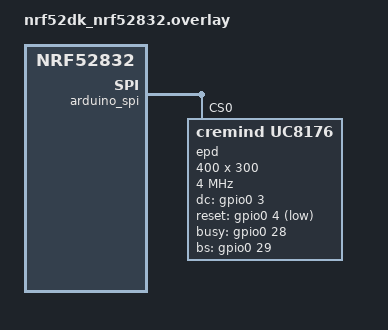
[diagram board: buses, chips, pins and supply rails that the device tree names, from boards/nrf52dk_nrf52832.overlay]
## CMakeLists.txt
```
# Cremind Tag firmware (docs/tag-firmware.md). Built by tools/build.py with
# -DZEPHYR_EXTRA_MODULES=<repository>, which provides boards/, dts/ and lib/.
cmake_minimum_required(VERSION 3.20.0)
find_package(Zephyr REQUIRED HINTS $ENV{ZEPHYR_BASE})
project(cremind_tag)

target_sources(app PRIVATE
  src/main.c
  src/tag_core.c
  src/gatt.c
  src/adv.c
  src/store_nvs.c
  src/enroll_uicr.c
  src/battery.c)

# One panel driver per image: the controller of the chosen cremind,panel node.
if(CONFIG_DT_HAS_CREMIND_SSD1619_ENABLED)
  target_sources(app PRIVATE src/panel_ssd1619.c)
else()
  target_sources(app PRIVATE src/panel_uc8176.c)
endif()

# Link-time optimisation (prj.conf CONFIG_LTO) for everything except:
# - the Zephyr Link Layer: the timing-critical controller is compiled exactly
#   as upstream builds it, and tools/verify_stack.py keeps finding its symbols;
# - ctag_session: LTO would inline the transcript (a 232-byte PSA hash
#   operation) and the HKDF chain into one frame of the handshake handler;
#   kept apart, the frames are those measured in docs/firmware-libs.md and
#   the system work queue budget holds (docs/tag-firmware.md "Stack budget").
if(CONFIG_LTO)
  foreach(lib subsys__bluetooth__controller subsys__bluetooth__controller__ll_sw__nordic
              ctag_session)
    if(TARGET ${lib})
      set_property(TARGET ${lib} PROPERTY LTO 0)
    endif()
  endforeach()
endif()
```

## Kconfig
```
# Cremind Tag application options (docs/tag-firmware.md).

config APP_LOW_BATTERY_MV
	int "Low-battery threshold (mV) for the advertising and CHALLENGE flags"
	default 2400

config APP_BATTERY_NRF51_DIRECT
	bool "Measure VDD on nRF51 with the ADC registers"
	depends on SOC_SERIES_NRF51
	default y
	help
	  Zephyr's nRF51 ADC driver cannot select the 1/3 supply input, so VDD
	  is sampled directly (10 bit, 1.2 V band gap). The ADC devicetree node
	  must stay disabled. Off: battery_mv is reported as 0 (unknown).

config APP_TIGHT_CTLR_STACKS
	bool "Shrink the hidden Zephyr controller RX thread stacks"
	default y if SOC_SERIES_NRF51
	help
	  docs/firmware-notes.md section 12 ("tight"): 640 B controller RX and
	  384 B priority RX stacks, so that 16 KiB parts keep 2 KiB free. Needs
	  on-target stack measurement (CONFIG_THREAD_ANALYZER) during
	  qualification.

# Hidden controller symbols cannot be set from a .conf file; the earliest
# default wins, so these must come before Kconfig.zephyr.
config BT_CTLR_RX_STACK_SIZE
	int
	default 640 if APP_TIGHT_CTLR_STACKS

config BT_CTLR_RX_PRIO_STACK_SIZE
	int
	default 384 if APP_TIGHT_CTLR_STACKS

source "Kconfig.zephyr"
```

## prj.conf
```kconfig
# Cremind Tag firmware, every tag target (docs/tag-firmware.md).
# Per-SoC stack sizes: socs/<soc>.conf. Fragment provenance:
# docs/firmware-notes.md section 12 (base, "min", "crypto-lean").

# ---- Bluetooth: legacy connectable peripheral, one link, ATT MTU 23 ----
CONFIG_BT=y
CONFIG_BT_PERIPHERAL=y
CONFIG_BT_DEVICE_NAME="CTag"
CONFIG_BT_MAX_CONN=1
CONFIG_BT_EXT_ADV=n
CONFIG_BT_L2CAP_TX_MTU=23
# Link security is the application's (docs/security.md): no SMP, no pairing.
CONFIG_BT_SMP=n
# Controller crypto stays on: =n selects host crypto -> PSA + heap
# (firmware-notes correction 8).
CONFIG_BT_CTLR_CRYPTO=y
# Host RX in the system work queue on every tag SoC: the GATT callbacks, the
# core, the panel poll and the crypto share one cooperative context (no
# locking) and no BT RX thread stack is allocated.
CONFIG_BT_RECV_WORKQ_SYS=y

# ---- Cremind Tag libraries (docs/firmware-libs.md) ----
CONFIG_CTAG_FRAG=y
CONFIG_CTAG_SESSION=y
CONFIG_CTAG_TXN=y
CONFIG_CTAG_ENROLL=y

# ---- crypto-lean: PSA with HMAC-built HKDF, CCM-8, SHA-256; nonces from
# sys_csrand_get(); all crypto in one thread; one volatile key at a time ----
CONFIG_PSA_CRYPTO=y
CONFIG_PSA_WANT_ALG_HMAC=y
CONFIG_PSA_WANT_ALG_SHA_256=y
CONFIG_PSA_WANT_ALG_CCM=y
CONFIG_PSA_WANT_KEY_TYPE_AES=y
CONFIG_PSA_WANT_AES_KEY_SIZE_128=y
CONFIG_PSA_WANT_KEY_TYPE_HMAC=y
CONFIG_PSA_WANT_GENERATE_RANDOM=n
CONFIG_MBEDTLS_THREADING_C=n
CONFIG_MBEDTLS_PSA_KEY_SLOT_COUNT=1

# ---- peripherals ----
CONFIG_GPIO=y
CONFIG_SPI=y
CONFIG_FLASH=y
CONFIG_FLASH_MAP=y
CONFIG_FLASH_PAGE_LAYOUT=y
CONFIG_NVS=y

# ---- code size ----
CONFIG_LTO=y
CONFIG_ISR_TABLES_LOCAL_DECLARATION=y

# ---- release build: no logging, no console ----
CONFIG_LOG=n
CONFIG_PRINTK=n
CONFIG_CONSOLE=n
CONFIG_UART_CONSOLE=n
CONFIG_SERIAL=n
CONFIG_BOOT_BANNER=n
CONFIG_NCS_BOOT_BANNER=n

# ---- "min": kernel ----
CONFIG_MAIN_STACK_SIZE=512
CONFIG_ISR_STACK_SIZE=1024
CONFIG_IDLE_STACK_SIZE=128
CONFIG_HW_STACK_PROTECTION=n
CONFIG_TIMESLICING=n
CONFIG_ASSERT=n
CONFIG_BT_ASSERT=n
CONFIG_HEAP_MEM_POOL_SIZE=0
CONFIG_CBPRINTF_NANO=y
CONFIG_NUM_PREEMPT_PRIORITIES=8

# ---- "min": host ----
CONFIG_BT_TX_PROCESSOR_THREAD=n
CONFIG_BT_BUF_EVT_RX_COUNT=4
CONFIG_BT_BUF_EVT_DISCARDABLE_COUNT=1
CONFIG_BT_BUF_ACL_TX_COUNT=2
CONFIG_BT_BUF_ACL_RX_COUNT_EXTRA=1
CONFIG_BT_L2CAP_TX_BUF_COUNT=2
CONFIG_BT_ATT_TX_COUNT=2
CONFIG_BT_GATT_SERVICE_CHANGED=n
CONFIG_BT_GATT_READ_MULTIPLE=n
CONFIG_BT_GATT_READ_MULT_VAR_LEN=n
CONFIG_BT_PHY_UPDATE=n
CONFIG_BT_DATA_LEN_UPDATE=n
CONFIG_BT_HCI_VS=n
CONFIG_BT_DEVICE_NAME_DYNAMIC=n
CONFIG_BT_GAP_AUTO_UPDATE_CONN_PARAMS=n

# ---- "min": controller ----
CONFIG_BT_CTLR_ADVANCED_FEATURES=y
CONFIG_BT_CTLR_LE_ENC=n
CONFIG_BT_CTLR_CONN_PARAM_REQ=n
CONFIG_BT_CTLR_EXT_REJ_IND=n
CONFIG_BT_CTLR_PER_INIT_FEAT_XCHG=n
CONFIG_BT_CTLR_MIN_USED_CHAN=n
CONFIG_BT_CTLR_CHAN_SEL_2=n
CONFIG_BT_CTLR_PRIVACY=n
CONFIG_BT_CTLR_FILTER_ACCEPT_LIST=n
CONFIG_BT_CTLR_DTM_HCI=n
CONFIG_BT_CTLR_ASSERT_OVERHEAD_START=n
```

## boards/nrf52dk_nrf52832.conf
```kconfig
# Link into the code partition so the image can never grow into NVS.
CONFIG_USE_DT_CODE_PARTITION=y
```

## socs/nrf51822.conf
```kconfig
# nRF51822 / nRF51802 (Laowu BW, BWR): 16 KiB SRAM.
# "tight" (docs/firmware-notes.md 12): APP_TIGHT_CTLR_STACKS defaults to y on
# nRF51 (app Kconfig), plus one HCI event buffer less.
CONFIG_BT_BUF_EVT_RX_COUNT=3
# The system work queue carries host RX/TX, the crypto and the panel driver.
CONFIG_SYSTEM_WORKQUEUE_STACK_SIZE=1280
```

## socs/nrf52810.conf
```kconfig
# nRF52 tag SoC. The system work queue carries host RX/TX (BT_RECV_WORKQ_SYS),
# the crypto and the panel driver.
CONFIG_SYSTEM_WORKQUEUE_STACK_SIZE=1536
# VDD through the SAADC (battery.c).
CONFIG_ADC=y
```

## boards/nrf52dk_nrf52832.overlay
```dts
/*
 * Development tag on the nRF52 DK (protocol board id NRF52DK_TAG = 20).
 *
 * The UC8176 node documents where to wire a 4.2-inch 400x300 UC8176 module
 * (e.g. a black/white 4.2" e-paper breakout) to the Arduino header:
 *   SCK D13 = P0.25, MOSI D11 = P0.23, CS D10 = P0.22 (arduino_spi = spi2),
 *   DC A0 = P0.03, RST A1 = P0.04, BUSY A2 = P0.28, BS A3 = P0.29 (tie low).
 * panel-id 0 (NONE) matches the companion's default enrollment of this
 * board: a virtual panel that accepts frames, verifies their digest and
 * "refreshes" after 300 ms without touching any pin. With a module wired,
 * set panel-id = <1> (UC8176_420_BW) and enroll the tag with `--panel bw`.
 */

/ {
	chosen {
		zephyr,code-partition = &code_partition;
		cremind,tag-board = &tag_board;
		cremind,panel = &epd;
	};

	tag_board: tag-board {
		compatible = "cremind,tag-board";
		board-id = <20>;
		/* Buttons exist, but System OFF wake is not verified for this app. */
	};
};

&arduino_spi {
	epd: epd@0 {
		compatible = "cremind,uc8176";
		reg = <0>;
		spi-max-frequency = <DT_FREQ_M(4)>;
		dc-gpios = <&gpio0 3 GPIO_ACTIVE_HIGH>;
		reset-gpios = <&gpio0 4 GPIO_ACTIVE_LOW>;
		busy-gpios = <&gpio0 28 GPIO_ACTIVE_HIGH>;
		bs-gpios = <&gpio0 29 GPIO_ACTIVE_HIGH>;
		width = <400>;
		height = <300>;
		planes = <1>;
		plane-flags = <0x01>;
		refresh-timeout-ms = <10000>;
		panel-id = <0>;	/* NONE (virtual); 1 = UC8176_420_BW once wired */
	};
};

/* No MCUboot on the tag: code at 0, NVS in the DK's storage partition. */
/delete-node/ &boot_partition;
/delete-node/ &slot0_partition;
/delete-node/ &slot1_partition;

&flash0 {
	partitions {
		code_partition: partition@0 {
			compatible = "zephyr,mapped-partition";
			label = "code";
			reg = <0x00000000 0x0007a000>;
		};
	};
};
```

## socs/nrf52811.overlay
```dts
/* SAADC for the VDD measurement (battery.c; internal input, no pin). */
&adc {
	status = "okay";
};
```

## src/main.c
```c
/*
 * Cremind Tag firmware (docs/tag-firmware.md).
 *
 * main() only checks the enrollment blob and starts Bluetooth asynchronously;
 * everything else runs on the system work queue: bt_ready() (crypto, NVS,
 * panel, core, advertising), the GATT callbacks (BT_RECV_WORKQ_SYS), the core
 * work item, the session timeout and the panel's BUSY poll. A single
 * cooperative context means the core needs no locking and main's stack stays
 * small.
 */
#include <zephyr/bluetooth/bluetooth.h>
#include <zephyr/drivers/gpio.h>
#include <zephyr/kernel.h>
#include <zephyr/logging/log.h>
#include <zephyr/sys/poweroff.h>

#include <ctag/ctag_crypto.h>
#include <ctag/ctag_enroll.h>

#include "app.h"
#include "panel.h"

LOG_MODULE_REGISTER(tag, LOG_LEVEL_INF);

struct tag_core app_core;

static struct tag_core_cfg cfg;

static void core_fn(struct k_work *work);
static K_WORK_DELAYABLE_DEFINE(core_work, core_fn);

#define LINGER_MS 2000 /* ERROR / last RESULT in flight before a forced disconnect */

/*
 * The one work item of the core: the panel's BUSY poll (while a refresh
 * runs), record processing, then the GATT transmit pump. Kicked by writes,
 * ATT completions and the panel; re-armed by -ENOMEM and the BUSY poll.
 */
static void core_fn(struct k_work *work)
{
	(void)work;
	panel_poll();
	tag_core_poll(&app_core);
	gatt_pump();
	if (tag_core_closing(&app_core)) {
		/* Bound the wait for the last indication's confirmation. */
		adv_touch(LINGER_MS);
	}
}

void app_kick(void)
{
	k_work_reschedule(&core_work, K_NO_WAIT);
}

void app_kick_after(uint32_t ms)
{
	/* Keeps an earlier deadline: never postpones pending work. */
	k_work_schedule(&core_work, K_MSEC(ms));
}

void app_kick_later(void)
{
	app_kick_after(10);
}

void app_touch(void)
{
	adv_touch(CTAG_TAG_SESSION_TIMEOUT_MS);
}

void app_session_timer(void)
{
	if (tag_core_refreshing(&app_core)) {
		app_touch(); /* the tag stays connected through the refresh */
		return;
	}
	if (tag_core_closing(&app_core)) {
		gatt_disconnect();
		return;
	}
	tag_core_timeout(&app_core);
	app_kick();
}

void app_link_up(void)
{
	adv_link_up(); /* also arms the session timeout */
	tag_core_link_up(&app_core);
}

void app_link_down(void)
{
	tag_core_link_down(&app_core);
#if TAG_SLEEP_OK
	if (app_core.sleep) {
		static const struct gpio_dt_spec wake = GPIO_DT_SPEC_GET(TAG_BOARD_NODE, wake_gpios);

		/* CMD{SLEEP}: System OFF until the verified wake input fires. */
		(void)gpio_pin_configure_dt(&wake, GPIO_INPUT);
		(void)gpio_pin_interrupt_configure_dt(&wake, GPIO_INT_LEVEL_ACTIVE);
		sys_poweroff();
	}
#endif
	adv_link_down();
}

void app_refresh_done(uint8_t status)
{
	tag_core_refresh_done(&app_core, status);
	if (gatt_connected()) {
		app_touch();
	}
	app_kick();
}

/* ---- platform hooks of the core ---- */

uint32_t tag_hal_uptime_ms(void)
{
	return k_uptime_get_32();
}

int tag_hal_random(uint8_t *buf, size_t len)
{
	return ctag_crypto_random(buf, len);
}

/* ---- boot ---- */

static void wipe(void *p, size_t len)
{
	volatile uint8_t *v = p;

	while (len-- > 0u) {
		*v++ = 0u;
	}
}

static void bt_ready(int err)
{
	if (err != 0 || ctag_crypto_init() != 0) {
		LOG_ERR("bt %d or crypto init failed: not advertising", err);
		return; /* no radio or no crypto: never advertise */
	}
	(void)store_init(); /* on failure every save reports STORAGE_ERROR */
	(void)battery_init();
	if (panel_init(TAG_PANEL_ID) == 0) {
		cfg.flags |= TAG_CFG_PANEL_OK;
	}
	if (TAG_SLEEP_OK) {
		cfg.flags |= TAG_CFG_SLEEP_OK;
	}
	tag_core_init(&app_core, &cfg);
	LOG_INF("tag %08x board %u panel %u (usable %u) epoch %u rec %u", cfg.tag_id, TAG_BOARD_ID,
		TAG_PANEL_ID, cfg.flags & TAG_CFG_PANEL_OK, app_core.stored_epoch,
		app_core.rec_state);
	adv_start();
}

#if DT_NODE_EXISTS(DT_ALIAS(led0))
static void security_config_blink(void)
{
	static const struct gpio_dt_spec led = GPIO_DT_SPEC_GET(DT_ALIAS(led0), gpios);

	if (!gpio_is_ready_dt(&led) || gpio_pin_configure_dt(&led, GPIO_OUTPUT_INACTIVE) != 0) {
		return;
	}
	/* Ten slow blinks, then dark: the tag stays silent and never advertises. */
	for (int i = 0; i < 20; i++) {
		(void)gpio_pin_toggle_dt(&led);
		k_msleep(250);
	}
	(void)gpio_pin_set_dt(&led, 0);
}
#else
static void security_config_blink(void)
{
}
#endif

int main(void)
{
	struct ctag_enrollment e;
	int err = enroll_load(&e);

	cfg.tag_id = e.tag_id;
	wipe(&e, sizeof(e)); /* the secret stays in UICR only */
	/* 9: no valid enrollment (or one for another board/panel) -> SECURITY_CONFIG. */
	if (err != 0) {
		LOG_ERR("SECURITY_CONFIG: enrollment blob missing, corrupt or for another board");
		security_config_blink();
		return 0;
	}
	cfg.secret = enroll_secret();
	cfg.planes = TAG_PLANES;
	cfg.plane_flags = TAG_PLANE_FLAGS;
	cfg.plane_len = (uint16_t)(((TAG_WIDTH + 7) / 8) * TAG_HEIGHT);
	(void)bt_enable(bt_ready);
	return 0;
}
```

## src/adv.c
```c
/*
 * Wake cycle and advertising (docs/protocol.md 5.1): every
 * TAG_WAKE_PERIOD_MS +/- TAG_WAKE_JITTER_MS (uniform) the tag advertises
 * connectably for TAG_ADV_WINDOW_MS at TAG_ADV_INTERVAL_MS, legacy 1M from
 * its static random identity address, with Flags and the manufacturer data
 * below; no scan response. Between windows the system idles in System ON
 * (tickless kernel, RTC running). A window is skipped while a bridge is
 * connected or a refresh runs, and once after three consecutive handshake
 * AUTH failures (5.4 pacing). While connected, the same timer is the
 * session timeout (app_session_timer()).
 */
#include <zephyr/bluetooth/bluetooth.h>
#include <zephyr/kernel.h>
#include <zephyr/random/random.h>

#include <ctag/proto_ids.h>

#include "app.h"

#define ADV_INTERVAL BT_GAP_MS_TO_ADV_INTERVAL(CTAG_TAG_ADV_INTERVAL_MS)

/* company u16 | ver u8 | tag_id u32 | flags u8 | disp_rev u16 */
static uint8_t mfg[10] = {(uint8_t)CTAG_MESH_COMPANY_ID, (uint8_t)(CTAG_MESH_COMPANY_ID >> 8), 1};

static const struct bt_data ad[] = {
	BT_DATA_BYTES(BT_DATA_FLAGS, BT_LE_AD_GENERAL | BT_LE_AD_NO_BREDR),
	BT_DATA(BT_DATA_MANUFACTURER_DATA, mfg, sizeof(mfg)),
};

static bool advertising;
static uint32_t wake_at;

static void adv_fn(struct k_work *work);
static K_WORK_DELAYABLE_DEFINE(adv_work, adv_fn);

static void next_wake(void)
{
	int32_t jitter = (int32_t)(sys_rand32_get() % (2u * CTAG_TAG_WAKE_JITTER_MS + 1u)) -
			 CTAG_TAG_WAKE_JITTER_MS;
	int32_t delay = (int32_t)(wake_at + CTAG_TAG_WAKE_PERIOD_MS - k_uptime_get_32()) + jitter;

	k_work_reschedule(&adv_work, K_MSEC(delay > 0 ? delay : 0));
}

static void adv_fn(struct k_work *work)
{
	(void)work;
	if (gatt_connected()) {
		app_session_timer();
		return;
	}
	if (advertising) { /* end of the window */
		(void)bt_le_adv_stop();
		advertising = false;
		next_wake();
		return;
	}
	wake_at = k_uptime_get_32();
	if (!gatt_connected() && !tag_core_refreshing(&app_core) &&
	    !tag_core_take_skip(&app_core)) {
		mfg[7] = tag_core_adv_flags(&app_core, tag_hal_battery_mv());
		ctag_put_le16(&mfg[8], tag_core_disp_rev(&app_core));
		if (bt_le_adv_start(BT_LE_ADV_PARAM(BT_LE_ADV_OPT_CONN, ADV_INTERVAL, ADV_INTERVAL,
						    NULL),
				    ad, ARRAY_SIZE(ad), NULL, 0) == 0) {
			advertising = true;
			k_work_schedule(&adv_work, K_MSEC(CTAG_TAG_ADV_WINDOW_MS));
			return;
		}
	}
	next_wake();
}

void adv_start(void)
{
	ctag_put_le32(&mfg[3], app_core.cfg.tag_id);
	k_work_schedule(&adv_work, K_NO_WAIT); /* first window right after boot */
}

void adv_link_up(void)
{
	/* A connectable legacy advertiser stops when the connection is made. */
	advertising = false;
	adv_touch(CTAG_TAG_SESSION_TIMEOUT_MS);
}

void adv_touch(uint32_t ms)
{
	k_work_reschedule(&adv_work, K_MSEC(ms));
}

void adv_link_down(void)
{
	next_wake();
}
```

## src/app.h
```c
/*
 * Glue between the Zephyr services (Bluetooth, NVS, UICR, ADC, panel) and the
 * protocol core. Everything below runs on the system work queue.
 */
#ifndef TAG_APP_H_
#define TAG_APP_H_

#include <stdbool.h>
#include <stdint.h>

#include <zephyr/devicetree.h>

#include <ctag/proto_msgs.h>

#include "tag_core.h"

#define TAG_BOARD_NODE DT_CHOSEN(cremind_tag_board)
#define TAG_PANEL_NODE DT_CHOSEN(cremind_panel)
#define TAG_BOARD_ID   DT_PROP(TAG_BOARD_NODE, board_id)
#define TAG_PANEL_ID   DT_PROP(TAG_PANEL_NODE, panel_id)
#define TAG_WIDTH      DT_PROP(TAG_PANEL_NODE, width)
#define TAG_HEIGHT     DT_PROP(TAG_PANEL_NODE, height)
#define TAG_PLANES     DT_PROP(TAG_PANEL_NODE, planes)
#define TAG_PLANE_FLAGS DT_PROP(TAG_PANEL_NODE, plane_flags)
/* CMD{SLEEP} (System OFF) only with a physically verified wake input. */
#define TAG_SLEEP_OK   (DT_PROP(TAG_BOARD_NODE, wake_verified) && \
			DT_NODE_HAS_PROP(TAG_BOARD_NODE, wake_gpios))

extern struct tag_core app_core;

/* main.c: run the panel poll, tag_core_poll() and the GATT transmit pump
 * (now, after ms, or after a short retry delay). */
void app_kick(void);
void app_kick_after(uint32_t ms);
void app_kick_later(void);
/* main.c: progress on the link; restarts the session timeout. */
void app_touch(void);
/* main.c: the link timer expired while connected (session timeout/linger). */
void app_session_timer(void);
/* main.c: link events from gatt.c. */
void app_link_up(void);
void app_link_down(void);
/* main.c: the panel's refresh finished (panel driver work item). */
void app_refresh_done(uint8_t status);

/* gatt.c */
void gatt_pump(void);
void gatt_disconnect(void);
bool gatt_connected(void);

/* adv.c: one timer for the wake cycle (not connected) and the session
 * timeout (connected); they are never needed at the same time. */
void adv_start(void);
void adv_link_up(void);
void adv_link_down(void);
void adv_touch(uint32_t ms);

/* store_nvs.c */
int store_init(void);

/* enroll_uicr.c: the verified blob (secret wiped by the caller). */
int enroll_load(struct ctag_enrollment *e);
const uint8_t *enroll_secret(void);

/* battery.c */
int battery_init(void);

#endif /* TAG_APP_H_ */
```

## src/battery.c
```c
/*
 * VDD for CHALLENGE.battery_mv, RESULT.battery_mv and the low-battery flag
 * (0 = unknown, never reported as low).
 *
 * nRF52: the Zephyr ADC API on the SAADC's internal VDD input (gain 1/6,
 * 0.6 V reference: 3.6 V full scale, 12 bit).
 * nRF51: Zephyr's nRF51 ADC driver cannot select the supply input (it maps
 * input_positive to an analog pin, 8 bit only), so VDD is read with the ADC
 * registers directly (INPSEL = 1/3 supply, REFSEL = 1.2 V band gap, 10 bit)
 * when CONFIG_APP_BATTERY_NRF51_DIRECT is set; the ADC devicetree node stays
 * disabled so no driver owns the peripheral.
 */
#include <errno.h>

#include <zephyr/devicetree.h>
#include <zephyr/kernel.h>

#include "app.h"

#if defined(CONFIG_APP_BATTERY_NRF51_DIRECT)

#include <soc.h>

BUILD_ASSERT(!DT_NODE_HAS_STATUS_OKAY(DT_NODELABEL(adc)), "a driver owns the nRF51 ADC");

int battery_init(void)
{
	return 0;
}

uint16_t tag_hal_battery_mv(void)
{
	uint32_t raw = 0;

	NRF_ADC->CONFIG = (ADC_CONFIG_RES_10bit << ADC_CONFIG_RES_Pos) |
			  (ADC_CONFIG_INPSEL_SupplyOneThirdPrescaling << ADC_CONFIG_INPSEL_Pos) |
			  (ADC_CONFIG_REFSEL_VBG << ADC_CONFIG_REFSEL_Pos);
	NRF_ADC->ENABLE = ADC_ENABLE_ENABLE_Enabled;
	NRF_ADC->EVENTS_END = 0;
	NRF_ADC->TASKS_START = 1;
	/* 10-bit conversion: 68 us; bounded in case the peripheral misbehaves. */
	for (int i = 0; i < 200 && NRF_ADC->EVENTS_END == 0; i++) {
		k_busy_wait(1);
	}
	if (NRF_ADC->EVENTS_END != 0) {
		raw = NRF_ADC->RESULT;
	}
	NRF_ADC->EVENTS_END = 0;
	NRF_ADC->ENABLE = ADC_ENABLE_ENABLE_Disabled;
	return (uint16_t)(raw * 3600u / 1023u);
}

#elif defined(CONFIG_ADC) && DT_NODE_HAS_STATUS_OKAY(DT_NODELABEL(adc))

#include <zephyr/drivers/adc.h>
#include <zephyr/dt-bindings/adc/nrf-saadc.h>

static const struct device *const adc = DEVICE_DT_GET(DT_NODELABEL(adc));
static bool ready;

int battery_init(void)
{
	static const struct adc_channel_cfg ch = {
		.gain = ADC_GAIN_1_6,
		.reference = ADC_REF_INTERNAL,
		.acquisition_time = ADC_ACQ_TIME(ADC_ACQ_TIME_MICROSECONDS, 10),
		.channel_id = 0,
		.input_positive = NRF_SAADC_VDD,
	};

	ready = device_is_ready(adc) && adc_channel_setup(adc, &ch) == 0;
	return ready ? 0 : -ENODEV;
}

uint16_t tag_hal_battery_mv(void)
{
	int16_t raw = 0;
	const struct adc_sequence seq = {
		.channels = BIT(0),
		.buffer = &raw,
		.buffer_size = sizeof(raw),
		.resolution = 12,
	};

	if (!ready || adc_read(adc, &seq) != 0 || raw < 0) {
		return 0;
	}
	return (uint16_t)((uint32_t)raw * 3600u / 4096u);
}

#else

int battery_init(void)
{
	return -ENOTSUP;
}

uint16_t tag_hal_battery_mv(void)
{
	return 0; /* not measured on this build (docs/tag-firmware.md) */
}

#endif
```

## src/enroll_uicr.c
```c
/*
 * Enrollment blob (docs/protocol.md 9) in UICR.CUSTOMER[0..11] at 0x10001080
 * on nRF51 and nRF52 alike. The secret is never copied out of UICR: the
 * session code reads it in place (enroll_secret()).
 */
#include <errno.h>
#include <stddef.h>

#include <soc.h>

#include <ctag/ctag_enroll.h>

#include "app.h"

#define UICR_BLOB ((const uint8_t *)&NRF_UICR->CUSTOMER[0])
#define SECRET_OFFSET 12u /* magic, version, board, panel, flags, tag_id */

BUILD_ASSERT(offsetof(NRF_UICR_Type, CUSTOMER) == 0x080, "UICR.CUSTOMER at 0x10001080");

int enroll_load(struct ctag_enrollment *e)
{
	if (ctag_enroll_parse(UICR_BLOB, CTAG_ENROLLMENT_LEN, e) != CTAG_STATUS_OK) {
		return -EINVAL;
	}
	/* The blob and this firmware must describe the same board and panel. */
	return e->board == TAG_BOARD_ID && e->panel == TAG_PANEL_ID ? 0 : -EINVAL;
}

const uint8_t *enroll_secret(void)
{
	return UICR_BLOB + SECRET_OFFSET;
}
```

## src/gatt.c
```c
/*
 * Tag GATT service (protocol/spec.yaml gatt, docs/protocol.md 5): CAPS read,
 * CTRL write + indicate, DATA write without response, STATUS notify. Writes
 * go to the core's reassembler; outgoing fragments are pumped from the
 * core's queue: CTRL one indication at a time (the next after the
 * confirmation), STATUS as far as the ATT buffers allow (-ENOMEM retries after
 * a completion callback or a short delay). The queue is drained in order, so
 * AUTH_OK is confirmed before the first CREDIT goes out.
 */
#include <errno.h>

#include <zephyr/bluetooth/bluetooth.h>
#include <zephyr/bluetooth/conn.h>
#include <zephyr/bluetooth/gatt.h>
#include <zephyr/bluetooth/uuid.h>
#include <zephyr/kernel.h>

#include <app_version.h>
#include <ctag/proto_ids.h>

#include "app.h"

static const struct bt_uuid_128 svc_uuid = BT_UUID_INIT_128(CTAG_GATT_SERVICE_UUID_VAL);
static const struct bt_uuid_128 caps_uuid = BT_UUID_INIT_128(CTAG_GATT_CHR_CAPS_UUID_VAL);
static const struct bt_uuid_128 ctrl_uuid = BT_UUID_INIT_128(CTAG_GATT_CHR_CTRL_UUID_VAL);
static const struct bt_uuid_128 data_uuid = BT_UUID_INIT_128(CTAG_GATT_CHR_DATA_UUID_VAL);
static const struct bt_uuid_128 status_uuid = BT_UUID_INIT_128(CTAG_GATT_CHR_STATUS_UUID_VAL);

static struct bt_conn *cur;
static struct bt_gatt_indicate_params ind;
static uint8_t frag[CTAG_ATT_VALUE_MAX];
static uint8_t frag_len;
static uint8_t frag_chr;
static bool ind_busy;

/* The CAPS value: served on the characteristic and bound into the handshake
 * transcript by the core (docs/protocol.md 5.4), so both use these bytes. */
void tag_hal_caps(uint8_t out[CTAG_TAG_CAPS_LEN])
{
	const struct ctag_tag_caps caps = {
		.proto = CTAG_PROTO_VERSION,
		.tag_id = app_core.cfg.tag_id,
		.board = TAG_BOARD_ID,
		.panel = TAG_PANEL_ID,
		.width = TAG_WIDTH,
		.height = TAG_HEIGHT,
		.planes = TAG_PLANES,
		.plane_flags = TAG_PLANE_FLAGS,
		.fw_major = APP_VERSION_MAJOR,
		.fw_minor = APP_VERSION_MINOR,
		.fw_patch = APP_PATCHLEVEL,
		.max_record = CTAG_TAG_RECORD_PAYLOAD_MAX,
		.credits = TAG_CREDITS,
	};

	(void)ctag_tag_caps_pack(&caps, out, CTAG_TAG_CAPS_LEN);
}

static ssize_t read_caps(struct bt_conn *conn, const struct bt_gatt_attr *attr, void *buf,
			 uint16_t len, uint16_t offset)
{
	uint8_t value[CTAG_TAG_CAPS_LEN];

	tag_hal_caps(value);
	return bt_gatt_attr_read(conn, attr, buf, len, offset, value, sizeof(value));
}

/* CTRL and DATA: user_data carries the enum tag_chr. */
static ssize_t write_value(struct bt_conn *conn, const struct bt_gatt_attr *attr, const void *buf,
			   uint16_t len, uint16_t offset, uint8_t flags)
{
	(void)flags;
	if (conn != cur) {
		return BT_GATT_ERR(BT_ATT_ERR_UNLIKELY);
	}
	if (offset != 0u) {
		return BT_GATT_ERR(BT_ATT_ERR_INVALID_OFFSET);
	}
	if (!tag_core_closing(&app_core)) {
		app_touch();
	}
	if (tag_core_rx(&app_core, (uint8_t)(uintptr_t)attr->user_data, buf, len)) {
		app_kick();
	}
	return len;
}

BT_GATT_SERVICE_DEFINE(tag_svc,
	BT_GATT_PRIMARY_SERVICE(&svc_uuid),
	BT_GATT_CHARACTERISTIC(&caps_uuid.uuid, BT_GATT_CHRC_READ, BT_GATT_PERM_READ,
			       read_caps, NULL, NULL),
	BT_GATT_CHARACTERISTIC(&ctrl_uuid.uuid, BT_GATT_CHRC_WRITE | BT_GATT_CHRC_INDICATE,
			       BT_GATT_PERM_WRITE, NULL, write_value, (void *)TAG_CHR_CTRL),
	BT_GATT_CCC(NULL, BT_GATT_PERM_READ | BT_GATT_PERM_WRITE),
	BT_GATT_CHARACTERISTIC(&data_uuid.uuid, BT_GATT_CHRC_WRITE_WITHOUT_RESP,
			       BT_GATT_PERM_WRITE, NULL, write_value, (void *)TAG_CHR_DATA),
	BT_GATT_CHARACTERISTIC(&status_uuid.uuid, BT_GATT_CHRC_NOTIFY, BT_GATT_PERM_NONE,
			       NULL, NULL, NULL),
	BT_GATT_CCC(NULL, BT_GATT_PERM_READ | BT_GATT_PERM_WRITE),
);

/* Value attributes: [4] CTRL, [9] STATUS. */
#define CTRL_ATTR   (&tag_svc.attrs[4])
#define STATUS_ATTR (&tag_svc.attrs[9])

static void indicated(struct bt_conn *conn, struct bt_gatt_indicate_params *params, uint8_t err)
{
	(void)conn;
	(void)params;
	(void)err;
	ind_busy = false;
	app_kick();
}

static void notified(struct bt_conn *conn, void *user_data)
{
	(void)conn;
	(void)user_data;
	app_kick();
}

/* Out of line: its notify parameters never sit under the core's frames. */
__attribute__((noinline)) void gatt_pump(void)
{
	int err;
	int n;

	if (cur == NULL) {
		return;
	}
	while (!ind_busy) {
		if (frag_len == 0u) {
			n = tag_core_tx_next(&app_core, &frag_chr, frag);
			if (n <= 0) {
				break;
			}
			frag_len = (uint8_t)n;
		}
		if (frag_chr == TAG_CHR_CTRL) {
			ind.attr = CTRL_ATTR;
			ind.func = indicated;
			ind.destroy = NULL;
			ind.data = frag;
			ind.len = frag_len;
			err = bt_gatt_indicate(cur, &ind); /* copies the value */
			ind_busy = err == 0;
		} else {
			struct bt_gatt_notify_params np = {
				.attr = STATUS_ATTR,
				.data = frag,
				.len = frag_len,
				.func = notified,
			};

			err = bt_gatt_notify_cb(cur, &np);
		}
		if (err == -ENOMEM) {
			app_kick_later(); /* no ATT buffer free in the system work queue */
			return;
		}
		if (err != 0) {
			/* Not subscribed or link gone: the session cannot go on. */
			gatt_disconnect();
			return;
		}
		frag_len = 0u;
	}
	if (tag_core_closing(&app_core) && frag_len == 0u && !ind_busy &&
	    tag_core_tx_empty(&app_core)) {
		gatt_disconnect();
	}
}

void gatt_disconnect(void)
{
	if (cur != NULL) {
		(void)bt_conn_disconnect(cur, BT_HCI_ERR_REMOTE_USER_TERM_CONN);
	}
}

bool gatt_connected(void)
{
	return cur != NULL;
}

static void connected(struct bt_conn *conn, uint8_t err)
{
	if (err != 0u || cur != NULL) {
		return;
	}
	cur = bt_conn_ref(conn);
	frag_len = 0u;
	ind_busy = false;
	app_link_up();
}

static void disconnected(struct bt_conn *conn, uint8_t reason)
{
	(void)reason;
	if (conn != cur) {
		return;
	}
	bt_conn_unref(cur);
	cur = NULL;
	app_link_down();
}

BT_CONN_CB_DEFINE(tag_conn_cb) = {
	.connected = connected,
	.disconnected = disconnected,
};
```

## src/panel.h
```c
/*
 * Panel interface of docs/protocol.md 6 (per panel profile). Writes stage
 * image bytes in the controller's RAM and never trigger a refresh; only
 * panel_commit_refresh() issues the refresh command. Every function returns 0
 * or a negative errno (the core reports PANEL_ERROR).
 *
 * Implemented by panel_uc8176.c or panel_ssd1619.c on the tag (the controller
 * of the chosen panel node) and by a fake in the native_sim tests. Planes arrive in order (plane 0 fully, then plane 1) at strictly
 * increasing offsets; a frame always restarts from begin_frame().
 */
#ifndef TAG_PANEL_H_
#define TAG_PANEL_H_

#include <stddef.h>
#include <stdint.h>

#ifdef __cplusplus
extern "C" {
#endif

/* Boot: configure the pins of a usable panel (never for panel id 255). */
int panel_init(uint8_t panel_id);

/* Reset and initialise the controller for a new frame (restart-safe). */
int panel_begin_frame(void);

/* Stage len bytes of plane at offset (the bytes already staged for it). */
int panel_write_plane_chunk(uint8_t plane, uint16_t offset, const uint8_t *data, size_t len);

/* Every byte of every plane staged and the controller idle. */
int panel_validate_frame(void);

/* Power the panel and issue the refresh command. */
int panel_commit_refresh(void);

/*
 * Arm the non-blocking BUSY poll bounded by the devicetree refresh timeout.
 * The result arrives later through tag_core_refresh_done() (OK or
 * REFRESH_TIMEOUT), from panel_poll().
 */
int panel_wait_refresh_complete(void);

/* Called from the core work item: checks BUSY while a refresh runs. */
void panel_poll(void);

/* Power off and deep-sleep the controller after a refresh. */
void panel_sleep(void);

/* Drop a partly staged frame: the panel never refreshes it. */
void panel_abort_frame(void);

#ifdef __cplusplus
}
#endif

#endif /* TAG_PANEL_H_ */
```

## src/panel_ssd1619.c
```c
/*
 * Solomon Systech SSD1619 panel profile (docs/protocol.md 6, docs/tag-firmware.md
 * "Panel driver"), from the SSD1619A command set and the sequence EPD-nRF5
 * (github.com/tsl0922/EPD-nRF5, EPD/SSD16xx.c) runs on the same boards: OTP
 * waveforms and the controller's internal temperature sensor.
 *
 *   init            panel supply on (en-gpios), then the SPI bus (deferred
 *                   init), BS low, RES# and DC idle
 *   begin_frame     hardware reset, SW RESET, wait BUSY low, border waveform,
 *                   internal sensor, data entry X+ then Y+, RAM window and
 *                   address counters (ram-x-offset), then WRITE RAM (B/W)
 *   write_chunk     data bytes only (DC high); plane 1 first moves the address
 *                   counters back to the window origin and sends WRITE RAM (red)
 *   validate_frame  every byte of every plane staged, BUSY low
 *   commit_refresh  DISPLAY UPDATE CONTROL 1 (RAM options), DISPLAY UPDATE
 *                   CONTROL 2 0xF7 (clock and analog on, load temperature and
 *                   LUT, display, analog and clock off), MASTER ACTIVATION
 *   wait_complete   non-blocking BUSY poll every 50 ms from the core work item
 *                   (panel_poll()), bounded by refresh-timeout-ms ->
 *                   REFRESH_TIMEOUT
 *   sleep           DEEP SLEEP mode 1 (only a hardware reset wakes it)
 *
 * Planes pass through unmodified: the DISPLAY UPDATE CONTROL 1 normal/inverse
 * options are derived from the devicetree plane-flags (native: B/W bit 1 =
 * white, red bit 1 = red) so that the bytes whose SHA-256 the tag verified are
 * exactly the bytes the controller receives.
 *
 * Panel id 255 (UNVERIFIED): panel_init() refuses before touching any pin or
 * the SPI bus, and every other call returns -ENODEV.
 */
#include <errno.h>

#include <zephyr/device.h>
#include <zephyr/devicetree.h>
#include <zephyr/drivers/gpio.h>
#include <zephyr/drivers/spi.h>
#include <zephyr/kernel.h>

#include <ctag/proto_ids.h>

#include "app.h"
#include "panel.h"

#define EPD DT_CHOSEN(cremind_panel)

#define EPD_W          DT_PROP(EPD, width)
#define EPD_H          DT_PROP(EPD, height)
#define EPD_X0         DT_PROP(EPD, ram_x_offset)
#define EPD_PLANES     DT_PROP(EPD, planes)
#define EPD_FLAGS      DT_PROP(EPD, plane_flags)
#define EPD_TIMEOUT_MS DT_PROP(EPD, refresh_timeout_ms)
#define EPD_PLANE_LEN  ((EPD_W / 8) * EPD_H)

/* RAM: 400 sources x 300 gates; the window is set in whole bytes. */
BUILD_ASSERT(EPD_W % 8 == 0 && EPD_X0 % 8 == 0 && EPD_X0 + EPD_W <= 400 && EPD_H <= 300,
	     "SSD1619 geometry");
BUILD_ASSERT(DT_PROP(EPD, panel_id) != CTAG_PANEL_NONE, "the virtual panel is panel_uc8176.c's");

/* Commands (datasheet "Command Table"). */
#define SSD_DEEP_SLEEP 0x10u
#define SSD_DATA_ENTRY 0x11u
#define SSD_SW_RESET   0x12u
#define SSD_TSENSOR    0x18u
#define SSD_MASTER_ACT 0x20u
#define SSD_UPD_CTRL1  0x21u
#define SSD_UPD_CTRL2  0x22u
#define SSD_WRITE_BW   0x24u
#define SSD_WRITE_RED  0x26u
#define SSD_BORDER     0x3Cu
#define SSD_RAM_X      0x44u
#define SSD_RAM_Y      0x45u
#define SSD_RAM_XCOUNT 0x4Eu
#define SSD_RAM_YCOUNT 0x4Fu

/*
 * DISPLAY UPDATE CONTROL 1, first parameter: red RAM option in A[7:4], B/W
 * RAM option in A[3:0] (0 = normal, 4 = read as 0, 8 = inverse). Natively a
 * B/W bit 1 is white and a red bit 1 is red; one plane reads red as 0.
 */
#define RAM_NORMAL  0x0u
#define RAM_BYPASS0 0x4u
#define RAM_INVERSE 0x8u
#define FLAG_W1 ((EPD_FLAGS & 0x01) != 0) /* plane 0 bit 1 = white */
#define FLAG_R1 ((EPD_FLAGS & 0x02) != 0) /* plane 1 bit 1 = red */
#if EPD_PLANES == 1
#define RED_OPT RAM_BYPASS0
#else
#define RED_OPT (FLAG_R1 ? RAM_NORMAL : RAM_INVERSE)
#endif
#define BW_OPT   (FLAG_W1 ? RAM_NORMAL : RAM_INVERSE)
#define EPD_UPD1 ((RED_OPT << 4) | BW_OPT)

#define UPD2_FULL        0xF7u /* clock, analog, temperature, LUT, display, then off */
#define BORDER_WAVEFORM  0x01u
#define TSENSOR_INTERNAL 0x80u
#define ENTRY_X_THEN_Y   0x03u /* X and Y increment, X first: native row-major */
#define DEEP_SLEEP_MODE1 0x01u

#define RESET_MS     10
#define IDLE_WAIT_MS 500 /* SW reset, deep sleep: bounded blocking waits */
#define POLL_MS      50

static const struct spi_dt_spec spi =
	SPI_DT_SPEC_GET(EPD, SPI_WORD_SET(8) | SPI_TRANSFER_MSB | SPI_OP_MODE_MASTER);
static const struct gpio_dt_spec dc = GPIO_DT_SPEC_GET(EPD, dc_gpios);
static const struct gpio_dt_spec rst = GPIO_DT_SPEC_GET(EPD, reset_gpios);
static const struct gpio_dt_spec busy_pin = GPIO_DT_SPEC_GET(EPD, busy_gpios);
#if DT_NODE_HAS_PROP(EPD, bs_gpios)
static const struct gpio_dt_spec bs = GPIO_DT_SPEC_GET(EPD, bs_gpios);
#endif
#if DT_NODE_HAS_PROP(EPD, en_gpios)
static const struct gpio_dt_spec en = GPIO_DT_SPEC_GET(EPD, en_gpios);
#endif

static bool usable;
static bool active;  /* reset and initialised since the last deep sleep */
static bool waiting; /* a refresh is running: panel_poll() watches BUSY */
static uint8_t cur_plane;
static uint16_t staged[EPD_PLANES];
static uint32_t refresh_t0;

/* BUSY read as a raw level; high = busy with busy-active-high. */
static bool busy(void)
{
	int level = gpio_pin_get_raw(busy_pin.port, busy_pin.pin);

	return DT_PROP(EPD, busy_active_high) ? level != 0 : level == 0;
}

static bool wait_idle(void)
{
	for (int i = 0; i < IDLE_WAIT_MS; i += 5) {
		if (!busy()) {
			return true;
		}
		k_msleep(5);
	}
	return !busy();
}

static int write_bytes(const uint8_t *data, size_t len)
{
	const struct spi_buf buf = {.buf = (void *)data, .len = len};
	const struct spi_buf_set set = {.buffers = &buf, .count = 1};

	return spi_write_dt(&spi, &set);
}

/* Command byte with DC low, then its parameters (in RAM for EasyDMA) with DC high. */
static int command(uint8_t cmd, const uint8_t *param, size_t len)
{
	int err;

	(void)gpio_pin_set_dt(&dc, 0);
	err = write_bytes(&cmd, 1);
	(void)gpio_pin_set_dt(&dc, 1);
	if (err == 0 && len > 0u) {
		err = write_bytes(param, len);
	}
	return err;
}

static void hw_reset(void)
{
	(void)gpio_pin_set_dt(&rst, 1);
	k_msleep(RESET_MS);
	(void)gpio_pin_set_dt(&rst, 0);
	k_msleep(RESET_MS);
}

/* Address counters back to the window origin (the panel's first RAM byte). */
static int window_origin(void)
{
	uint8_t p[2] = {EPD_X0 / 8, 0u};
	int err = command(SSD_RAM_XCOUNT, p, 1);

	p[0] = 0u;
	return err ? err : command(SSD_RAM_YCOUNT, p, 2);
}

int panel_init(uint8_t panel_id)
{
	if (panel_id == CTAG_PANEL_UNVERIFIED || panel_id != DT_PROP(EPD, panel_id)) {
		return -ENODEV; /* no pin, no bus: placeholder or mismatched panel */
	}
#if DT_NODE_HAS_PROP(EPD, en_gpios)
	/* The supply first: the bus below drives CS high once it starts. */
	if (!gpio_is_ready_dt(&en) || gpio_pin_configure_dt(&en, GPIO_OUTPUT_ACTIVE) != 0) {
		return -ENODEV;
	}
#endif
	/* A zephyr,deferred-init bus starts here, after the panel supply. */
	if (!device_is_ready(spi.bus) && device_init(spi.bus) != 0) {
		return -ENODEV;
	}
	if (!spi_is_ready_dt(&spi) || !gpio_is_ready_dt(&dc)) {
		return -ENODEV;
	}
#if DT_NODE_HAS_PROP(EPD, bs_gpios)
	/* BS low selects the 4-wire interface; set before any reset. */
	(void)gpio_pin_configure_dt(&bs, GPIO_OUTPUT_INACTIVE);
#endif
	(void)gpio_pin_configure_dt(&rst, GPIO_OUTPUT_INACTIVE);
	(void)gpio_pin_configure_dt(&dc, GPIO_OUTPUT_INACTIVE);
	(void)gpio_pin_configure_dt(&busy_pin, GPIO_DISCONNECTED);
	usable = true;
	return 0;
}

int panel_begin_frame(void)
{
	uint8_t p[4];
	int err;

	if (!usable) {
		return -ENODEV;
	}
	cur_plane = 0u;
	for (int i = 0; i < EPD_PLANES; i++) {
		staged[i] = 0u;
	}
	active = true;
	(void)gpio_pin_configure_dt(&busy_pin, GPIO_INPUT);
	hw_reset();
	err = command(SSD_SW_RESET, NULL, 0);
	if (err == 0 && !wait_idle()) {
		err = -EIO;
	}
	p[0] = BORDER_WAVEFORM;
	err = err ? err : command(SSD_BORDER, p, 1);
	p[0] = TSENSOR_INTERNAL;
	err = err ? err : command(SSD_TSENSOR, p, 1);
	p[0] = ENTRY_X_THEN_Y;
	err = err ? err : command(SSD_DATA_ENTRY, p, 1);
	p[0] = EPD_X0 / 8;
	p[1] = (EPD_X0 + EPD_W - 1) / 8;
	err = err ? err : command(SSD_RAM_X, p, 2);
	p[0] = 0u;
	p[1] = 0u;
	p[2] = (uint8_t)((EPD_H - 1) & 0xFF);
	p[3] = (uint8_t)((EPD_H - 1) >> 8);
	err = err ? err : command(SSD_RAM_Y, p, 4);
	err = err ? err : window_origin();
	return err ? err : command(SSD_WRITE_BW, NULL, 0);
}

int panel_write_plane_chunk(uint8_t plane, uint16_t offset, const uint8_t *data, size_t len)
{
	int err = 0;

	if (!usable || plane >= EPD_PLANES || plane < cur_plane || offset != staged[plane] ||
	    len > (size_t)(EPD_PLANE_LEN - offset)) {
		return -EINVAL;
	}
	if (plane != cur_plane) {
		err = window_origin(); /* the red RAM fills from the origin again */
		err = err ? err : command(SSD_WRITE_RED, NULL, 0);
	}
	err = err ? err : write_bytes(data, len);
	cur_plane = plane;
	staged[plane] = (uint16_t)(offset + len);
	return err;
}

int panel_validate_frame(void)
{
	for (int i = 0; i < EPD_PLANES; i++) {
		if (staged[i] != EPD_PLANE_LEN) {
			return -EINVAL;
		}
	}
	/* Staging never refreshes: a busy controller here is a fault. */
	return !usable ? -ENODEV : busy() ? -EIO : 0;
}

int panel_commit_refresh(void)
{
	uint8_t p[2] = {EPD_UPD1, 0x00u};
	int err;

	if (!usable) {
		return -ENODEV;
	}
	refresh_t0 = k_uptime_get_32();
	err = command(SSD_UPD_CTRL1, p, 2);
	p[0] = UPD2_FULL;
	err = err ? err : command(SSD_UPD_CTRL2, p, 1);
	return err ? err : command(SSD_MASTER_ACT, NULL, 0);
}

void panel_poll(void)
{
	uint8_t status = CTAG_STATUS_OK;

	if (!waiting) {
		return;
	}
	if (busy()) {
		if (k_uptime_get_32() - refresh_t0 < EPD_TIMEOUT_MS) {
			app_kick_after(POLL_MS);
			return;
		}
		status = CTAG_STATUS_REFRESH_TIMEOUT;
	}
	waiting = false;
	app_refresh_done(status);
}

int panel_wait_refresh_complete(void)
{
	if (!usable) {
		return -ENODEV;
	}
	waiting = true;
	app_kick_after(POLL_MS);
	return 0;
}

void panel_sleep(void)
{
	uint8_t mode = DEEP_SLEEP_MODE1;

	if (!active) {
		return;
	}
	active = false;
	if (!wait_idle()) {
		hw_reset(); /* BUSY stuck (REFRESH_TIMEOUT): stop the controller */
	}
	(void)command(SSD_DEEP_SLEEP, &mode, 1);
	(void)gpio_pin_set_dt(&dc, 0);
	(void)gpio_pin_configure_dt(&busy_pin, GPIO_DISCONNECTED);
}

void panel_abort_frame(void)
{
	waiting = false;
	panel_sleep();
}
```

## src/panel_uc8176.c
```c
/*
 * UltraChip UC8176 panel profile (docs/protocol.md 6, docs/tag-firmware.md
 * "Panel driver"), from the UC8176 datasheet command set (UC8176c A0.1):
 * OTP waveforms (REG_EN = 0), KW mode for one plane and KWR mode for two.
 *
 *   begin_frame     hardware reset, wait BUSY_N high, BTST, PSR, TRES, CDI,
 *                   then the data command of plane 0
 *   write_chunk     data bytes only (DC high); plane 1 first sends DTM2
 *   validate_frame  every byte of every plane staged, BUSY_N high
 *   commit_refresh  PON, wait BUSY_N high, DRF (the only refresh command;
 *                   DSP is never sent: with data_flag set it starts a refresh)
 *   wait_complete   non-blocking BUSY_N poll every 50 ms from the core work
 *                   item (panel_poll()), bounded by refresh-timeout-ms ->
 *                   REFRESH_TIMEOUT
 *   sleep           POF, wait, DSLP 0xA5 (only a hardware reset wakes it)
 *
 * Planes pass through unmodified: the CDI data-polarity bits (DDX) are
 * derived from the devicetree plane-flags so that the bytes whose SHA-256
 * the tag verified are exactly the bytes the controller receives.
 *
 * Panel id 255 (UNVERIFIED): panel_init() refuses before touching any pin or
 * the (deferred-init) SPI bus, and every other call returns -ENODEV. Panel
 * id 0 (NONE, development board without a display): no pin is touched and a
 * refresh completes after a fixed delay.
 */
#include <errno.h>

#include <zephyr/device.h>
#include <zephyr/devicetree.h>
#include <zephyr/drivers/gpio.h>
#include <zephyr/drivers/spi.h>
#include <zephyr/kernel.h>

#include <ctag/proto_ids.h>

#include "app.h"
#include "panel.h"

#define EPD DT_CHOSEN(cremind_panel)

#define EPD_W          DT_PROP(EPD, width)
#define EPD_H          DT_PROP(EPD, height)
#define EPD_PLANES     DT_PROP(EPD, planes)
#define EPD_FLAGS      DT_PROP(EPD, plane_flags)
#define EPD_TIMEOUT_MS DT_PROP(EPD, refresh_timeout_ms)
#define EPD_PLANE_LEN  ((EPD_W / 8) * EPD_H)
#define EPD_VIRTUAL    (DT_PROP(EPD, panel_id) == CTAG_PANEL_NONE)

/* TRES: HRES[8:3] (multiple of 8), VRES[8:0]; the controller drives 400 x 300. */
BUILD_ASSERT(EPD_W % 8 == 0 && EPD_W <= 400 && EPD_H <= 300, "UC8176 geometry");

/* Commands (datasheet "COMMAND TABLE"). */
#define UC_PSR  0x00u
#define UC_POF  0x02u
#define UC_PON  0x04u
#define UC_BTST 0x06u
#define UC_DSLP 0x07u
#define UC_DTM1 0x10u
#define UC_DRF  0x12u
#define UC_DTM2 0x13u
#define UC_CDI  0x50u
#define UC_TRES 0x61u

/* PSR: RES = 00 (TRES overrides), REG_EN = 0 (OTP LUT), BWR (1 = KW), UD = 1,
 * SHL = 1 (first line G0, first byte S0: native row-major from the top-left),
 * SHD_N = 1, RST_N = 1. */
#define PSR_KW  0x1Fu
#define PSR_KWR 0x0Fu

/*
 * CDI = VBD[7:6] | DDX[5:4] | CDI[3:0] (0111 = 10 hsync, the default).
 * KW:  DDX[1] = 1 selects the "new data only" table (old data unused: every
 *      pixel takes LUTWB or LUTBW), DDX[0] = 1 means new bit 1 = white.
 * KWR: DDX[0] = 1 means B/W bit 1 = white; DDX[1] = 0 means red bit 1 = red.
 * VBD selects the white-driving LUT for the border (LUTBW / LUTW).
 */
#define FLAG_W1 ((EPD_FLAGS & 0x01) != 0) /* plane 0 bit 1 = white */
#define FLAG_R1 ((EPD_FLAGS & 0x02) != 0) /* plane 1 bit 1 = red */
#if EPD_PLANES == 1
#define EPD_PSR PSR_KW
#define EPD_DDX (0x2 | FLAG_W1)
#define EPD_VBD (FLAG_W1 ? 0x2 : 0x1)
#define EPD_DATA_CMD0 UC_DTM2 /* KW: DTM2 = "new" data */
#else
#define EPD_PSR PSR_KWR
#define EPD_DDX ((FLAG_R1 ? 0x0 : 0x2) | FLAG_W1)
#define EPD_VBD (FLAG_W1 ? 0x1 : 0x2)
#define EPD_DATA_CMD0 UC_DTM1 /* KWR: DTM1 = B/W, DTM2 = red */
#endif
#define EPD_CDI ((EPD_VBD << 6) | (EPD_DDX << 4) | 0x07)

#define RESET_MS        10
#define IDLE_WAIT_MS    500 /* reset, PON, POF: bounded blocking waits */
#define POLL_MS         50
#define VIRTUAL_REFRESH_MS 300

static const struct spi_dt_spec spi =
	SPI_DT_SPEC_GET(EPD, SPI_WORD_SET(8) | SPI_TRANSFER_MSB | SPI_OP_MODE_MASTER);
static const struct gpio_dt_spec dc = GPIO_DT_SPEC_GET(EPD, dc_gpios);
static const struct gpio_dt_spec rst = GPIO_DT_SPEC_GET(EPD, reset_gpios);
static const struct gpio_dt_spec busy_pin = GPIO_DT_SPEC_GET(EPD, busy_gpios);
#if DT_NODE_HAS_PROP(EPD, bs_gpios)
static const struct gpio_dt_spec bs = GPIO_DT_SPEC_GET(EPD, bs_gpios);
#endif

static bool usable;
static bool active;  /* reset and initialised since the last deep sleep */
static bool waiting; /* a refresh is running: panel_poll() watches BUSY */
static uint8_t cur_plane;
static uint16_t staged[EPD_PLANES];
static uint32_t refresh_t0;

/* BUSY_N read as a raw level; low = busy unless busy-active-high. */
static bool busy(void)
{
	int level = gpio_pin_get_raw(busy_pin.port, busy_pin.pin);

	return DT_PROP(EPD, busy_active_high) ? level != 0 : level == 0;
}

static bool wait_idle(void)
{
	for (int i = 0; i < IDLE_WAIT_MS; i += 5) {
		if (!busy()) {
			return true;
		}
		k_msleep(5);
	}
	return !busy();
}

static int write_bytes(const uint8_t *data, size_t len)
{
	const struct spi_buf buf = {.buf = (void *)data, .len = len};
	const struct spi_buf_set set = {.buffers = &buf, .count = 1};

	return spi_write_dt(&spi, &set);
}

/* Command byte with DC low, then its parameters (in RAM for EasyDMA) with DC high. */
static int command(uint8_t cmd, const uint8_t *param, size_t len)
{
	int err;

	(void)gpio_pin_set_dt(&dc, 0);
	err = write_bytes(&cmd, 1);
	(void)gpio_pin_set_dt(&dc, 1);
	if (err == 0 && len > 0u) {
		err = write_bytes(param, len);
	}
	return err;
}

static void hw_reset(void)
{
	(void)gpio_pin_set_dt(&rst, 1);
	k_msleep(RESET_MS);
	(void)gpio_pin_set_dt(&rst, 0);
	k_msleep(RESET_MS);
}

int panel_init(uint8_t panel_id)
{
	if (panel_id == CTAG_PANEL_UNVERIFIED || panel_id != DT_PROP(EPD, panel_id)) {
		return -ENODEV; /* no pin, no bus: placeholder or mismatched panel */
	}
	if (!EPD_VIRTUAL) {
		if (!spi_is_ready_dt(&spi) || !gpio_is_ready_dt(&dc)) {
			return -ENODEV;
		}
#if DT_NODE_HAS_PROP(EPD, bs_gpios)
		/* BS low selects the 4-wire interface; set before any reset. */
		(void)gpio_pin_configure_dt(&bs, GPIO_OUTPUT_INACTIVE);
#endif
		(void)gpio_pin_configure_dt(&rst, GPIO_OUTPUT_INACTIVE);
		(void)gpio_pin_configure_dt(&dc, GPIO_OUTPUT_INACTIVE);
		(void)gpio_pin_configure_dt(&busy_pin, GPIO_DISCONNECTED);
	}
	usable = true;
	return 0;
}

int panel_begin_frame(void)
{
	uint8_t p[4];
	int err;

	if (!usable) {
		return -ENODEV;
	}
	cur_plane = 0u;
	for (int i = 0; i < EPD_PLANES; i++) {
		staged[i] = 0u;
	}
	if (EPD_VIRTUAL) {
		return 0;
	}
	active = true;
	(void)gpio_pin_configure_dt(&busy_pin, GPIO_INPUT);
	hw_reset();
	if (!wait_idle()) {
		return -EIO;
	}
	p[0] = 0x17u; /* BTST: datasheet defaults, phases A/B/C */
	p[1] = 0x17u;
	p[2] = 0x17u;
	err = command(UC_BTST, p, 3);
	p[0] = EPD_PSR;
	err = err ? err : command(UC_PSR, p, 1);
	p[0] = (uint8_t)(EPD_W >> 8);
	p[1] = (uint8_t)(EPD_W & 0xF8);
	p[2] = (uint8_t)(EPD_H >> 8);
	p[3] = (uint8_t)(EPD_H & 0xFF);
	err = err ? err : command(UC_TRES, p, 4);
	p[0] = EPD_CDI;
	err = err ? err : command(UC_CDI, p, 1);
	return err ? err : command(EPD_DATA_CMD0, NULL, 0);
}

int panel_write_plane_chunk(uint8_t plane, uint16_t offset, const uint8_t *data, size_t len)
{
	int err = 0;

	if (!usable || plane >= EPD_PLANES || plane < cur_plane || offset != staged[plane] ||
	    len > (size_t)(EPD_PLANE_LEN - offset)) {
		return -EINVAL;
	}
	if (!EPD_VIRTUAL) {
		if (plane != cur_plane) {
			err = command(UC_DTM2, NULL, 0); /* KWR: red plane */
		}
		err = err ? err : write_bytes(data, len);
	}
	cur_plane = plane;
	staged[plane] = (uint16_t)(offset + len);
	return err;
}

int panel_validate_frame(void)
{
	for (int i = 0; i < EPD_PLANES; i++) {
		if (staged[i] != EPD_PLANE_LEN) {
			return -EINVAL;
		}
	}
	/* Staging never refreshes: a busy controller here is a fault. */
	return !usable ? -ENODEV : (!EPD_VIRTUAL && busy()) ? -EIO : 0;
}

int panel_commit_refresh(void)
{
	int err;

	if (!usable) {
		return -ENODEV;
	}
	refresh_t0 = k_uptime_get_32();
	if (EPD_VIRTUAL) {
		return 0;
	}
	err = command(UC_PON, NULL, 0);
	if (err == 0 && !wait_idle()) {
		err = -EIO;
	}
	return err ? err : command(UC_DRF, NULL, 0);
}

void panel_poll(void)
{
	uint8_t status = CTAG_STATUS_OK;

	if (!waiting) {
		return;
	}
	if (EPD_VIRTUAL) {
		if (k_uptime_get_32() - refresh_t0 < VIRTUAL_REFRESH_MS) {
			app_kick_after(VIRTUAL_REFRESH_MS);
			return;
		}
	} else if (busy()) {
		if (k_uptime_get_32() - refresh_t0 < EPD_TIMEOUT_MS) {
			app_kick_after(POLL_MS);
			return;
		}
		status = CTAG_STATUS_REFRESH_TIMEOUT;
	}
	waiting = false;
	app_refresh_done(status);
}

int panel_wait_refresh_complete(void)
{
	if (!usable) {
		return -ENODEV;
	}
	waiting = true;
	app_kick_after(EPD_VIRTUAL ? VIRTUAL_REFRESH_MS : POLL_MS);
	return 0;
}

void panel_sleep(void)
{
	uint8_t check = 0xA5u; /* DSLP check code */

	if (!active) {
		return;
	}
	active = false;
	(void)command(UC_POF, NULL, 0);
	if (!wait_idle()) {
		hw_reset(); /* BUSY stuck (REFRESH_TIMEOUT): stop the controller */
	}
	(void)command(UC_DSLP, &check, 1);
	(void)gpio_pin_set_dt(&dc, 0);
	(void)gpio_pin_configure_dt(&busy_pin, GPIO_DISCONNECTED);
}

void panel_abort_frame(void)
{
	waiting = false;
	panel_sleep();
}
```

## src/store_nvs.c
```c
/*
 * Raw NVS on the board's storage_partition (docs/firmware-notes.md 9): no
 * settings subsystem. Two entries: the ctag_txn display record
 * (TAG_STORE_ID_RECORD, 60 bytes) and the authenticated epoch
 * (TAG_STORE_ID_EPOCH, 12 bytes). An NVS write is atomic: the data is written
 * first and the CRC-protected allocation entry last, so a power loss leaves
 * the previous value readable.
 */
#include <errno.h>

#include <zephyr/devicetree.h>
#include <zephyr/kvss/nvs.h>
#include <zephyr/storage/flash_map.h>

#include "app.h"

static struct nvs_fs fs;
static bool mounted;

int store_init(void)
{
	/* One NVS sector per flash erase block: 1 KiB on nRF51, 4 KiB on nRF52. */
	fs.flash_device = PARTITION_DEVICE(storage_partition);
	fs.offset = PARTITION_OFFSET(storage_partition);
	fs.sector_size = DT_PROP(DT_CHOSEN(zephyr_flash), erase_block_size);
	fs.sector_count = PARTITION_SIZE(storage_partition) / fs.sector_size;
	mounted = nvs_mount(&fs) == 0;
	return mounted ? 0 : -EIO;
}

int tag_hal_store_read(uint16_t id, void *buf, size_t len)
{
	return mounted ? (int)nvs_read(&fs, id, buf, len) : -EIO;
}

int tag_hal_store_write(uint16_t id, const void *buf, size_t len)
{
	return mounted ? (int)nvs_write(&fs, id, buf, len) : -EIO;
}
```
